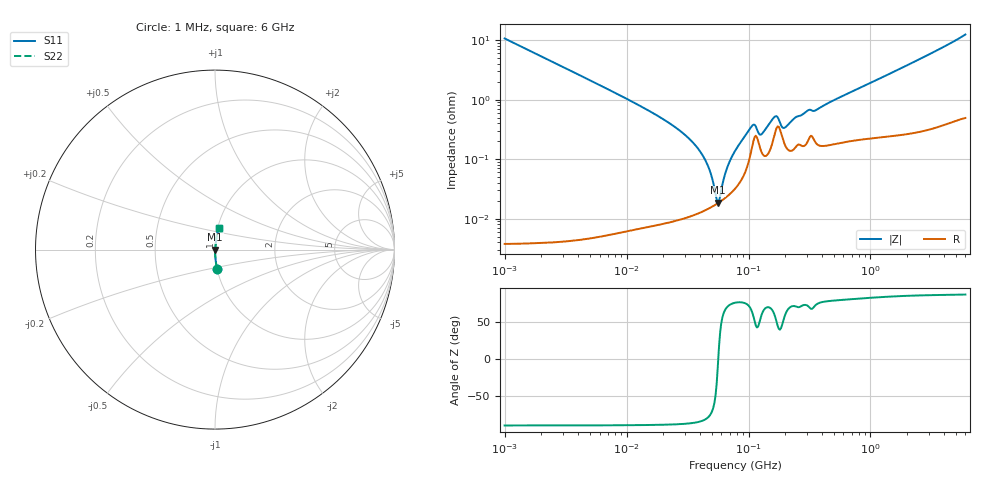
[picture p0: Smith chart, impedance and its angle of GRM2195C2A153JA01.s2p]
!Murata Part Number: GRM2195C2A153JA01
!These Parameters are Measured in Series Mode Connection
!Data Generated on Mar 30, 2021
!  o--ll--o
!Port1  Port2
!  o------o
!Operation Temp=25[degC], DC Bias Voltage=0[V]
!Freq. Start=1000[kHz] Stop=6[GHz] 401[Steps]
# Hz S RI R 50
!Freq.(Hz) S11(Real) S11(Imag) S21(Real) S21(Imag) S12(Real) S12(Imag) S22(Real) S22(Imag)
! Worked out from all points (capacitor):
!   401 points, 1 MHz to 6 GHz, reference 50 ohm
!   read as one part in series: C = 14.8 nF near 1.044 MHz
!   lowest |Z| = 18.5 mohm at 55.9 MHz (marker M1)
!   series resonance near 56.45 MHz, so ESL is about 540 pH
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1000000  0.0114 -0.1059  0.9886 0.1059  0.9886 0.1059  0.0114 -0.1059
4293785  0.00066 -0.0248  0.9993 0.0248  0.9993 0.0248  0.00066 -0.0248
1.843659e7  0.000106 -0.0052  0.9999 0.0052  0.9999 0.0052  0.000106 -0.0052
2.910942e7  0.000107 -0.00272  0.9999 0.00272  0.9999 0.00272  0.000107 -0.00272
3.947016e7  0.000126 -0.00141  0.9999 0.00141  0.9999 0.00141  0.000126 -0.00141
4.697123e7  0.000148 -0.000717  0.9999 0.000717  0.9999 0.000717  0.000148 -0.000717
5.013812e7  0.000158 -0.000462  0.9998 0.000462  0.9998 0.000462  0.000158 -0.000462
5.469524e7  0.000176 -0.000123  0.9998 0.000123  0.9998 0.000123  0.000176 -0.000123
5.589783e7  0.000181 -3.82e-05  0.9998 3.82e-05  0.9998 3.82e-05  0.000181 -3.82e-05
5.838291e7  0.000192 0.000133  0.9998 -0.000133  0.9998 -0.000133  0.000192 0.000133
6.652088e7  0.000235 0.000662  0.9998 -0.000662  0.9998 -0.000662  0.000235 0.000662
7.745967e7  0.000319 0.00133  0.9997 -0.00133  0.9997 -0.00133  0.000319 0.00133
1.073387e8  0.00165 0.00327  0.9983 -0.00327  0.9983 -0.00327  0.00165 0.00327
1.121107e8  0.00235 0.00297  0.9977 -0.00297  0.9977 -0.00297  0.00235 0.00297
1.223006e8  0.00174 0.00197  0.9983 -0.00197  0.9983 -0.00197  0.00174 0.00197
1.277378e8  0.00132 0.00226  0.9987 -0.00226  0.9987 -0.00226  0.00132 0.00226
1.658303e8  0.00288 0.00438  0.9971 -0.00438  0.9971 -0.00438  0.00288 0.00438
1.973453e8  0.0018 0.00284  0.9982 -0.00284  0.9982 -0.00284  0.0018 0.00284
2.452905e8  0.00165 0.00483  0.9984 -0.00483  0.9984 -0.00483  0.00165 0.00483
3.325952e8  0.00243 0.00606  0.9976 -0.00606  0.9976 -0.00606  0.00243 0.00606
1.428092e9  0.00313 0.0269  0.9969 -0.0269  0.9969 -0.0269  0.00313 0.0269
6e9  0.02 0.1218  0.98 -0.1218  0.98 -0.1218  0.02 0.1218
